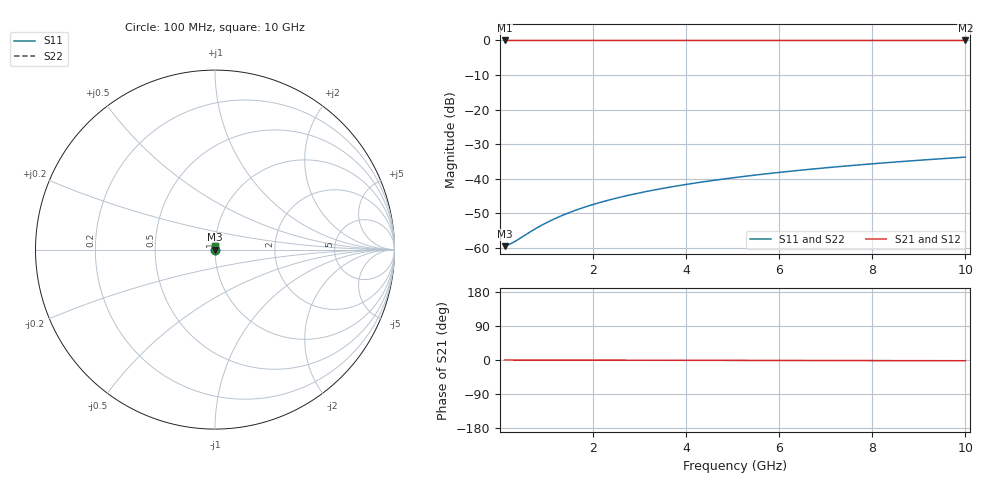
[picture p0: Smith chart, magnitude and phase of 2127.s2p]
# Hz S RI R 50.00
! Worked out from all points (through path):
!   100 points, 100 MHz to 10 GHz, reference 50 ohm
!   highest |S21| = -0.01 dB at 100 MHz (marker M1); lowest = 0.0 dB at 10 GHz (marker M2)
!   lowest |S11| = -59.5 dB at 100 MHz (marker M3), VSWR 1.00, Z = 50.1 + j0.0205 ohm
!   |S11| at or under -10 dB: start of sweep to end of sweep
!   |S22| runs from -59.5 to -33.8 dB; largest |S21 - S12| = 0
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1e8  0.00104 0.000205  0.999 -0.000349  0.999 -0.000349  0.00104 0.000205
2e8  0.00105 0.000409  0.999 -0.000699  0.999 -0.000699  0.00105 0.000409
3e8  0.00105 0.000614  0.9989 -0.00105  0.9989 -0.00105  0.00105 0.000614
8e8  0.00107 0.00164  0.9989 -0.00279  0.9989 -0.00279  0.00107 0.00164
9e8  0.00108 0.00184  0.9989 -0.00314  0.9989 -0.00314  0.00108 0.00184
1.1e9  0.00108 0.00225  0.9989 -0.00384  0.9989 -0.00384  0.00108 0.00225
1.4e9  0.00109 0.00286  0.9989 -0.00489  0.9989 -0.00489  0.00109 0.00286
1.6e9  0.0011 0.00327  0.9989 -0.00559  0.9989 -0.00559  0.0011 0.00327
1.8e9  0.00111 0.00368  0.9989 -0.00629  0.9989 -0.00629  0.00111 0.00368
2.1e9  0.00112 0.00429  0.9989 -0.00734  0.9989 -0.00734  0.00112 0.00429
2.5e9  0.00114 0.00511  0.9989 -0.00873  0.9989 -0.00873  0.00114 0.00511
2.9e9  0.00116 0.00593  0.9988 -0.0101  0.9988 -0.0101  0.00116 0.00593
3.4e9  0.00119 0.00695  0.9988 -0.0119  0.9988 -0.0119  0.00119 0.00695
3.8e9  0.00121 0.00777  0.9988 -0.0133  0.9988 -0.0133  0.00121 0.00777
4.2e9  0.00124 0.00859  0.9987 -0.0147  0.9987 -0.0147  0.00124 0.00859
4.6e9  0.00127 0.00941  0.9987 -0.0161  0.9987 -0.0161  0.00127 0.00941
5.1e9  0.00131 0.0104  0.9987 -0.0178  0.9987 -0.0178  0.00131 0.0104
5.9e9  0.00138 0.0121  0.9986 -0.0206  0.9986 -0.0206  0.00138 0.0121
6.7e9  0.00145 0.0137  0.9985 -0.0234  0.9985 -0.0234  0.00145 0.0137
7.5e9  0.00154 0.0153  0.9984 -0.0262  0.9984 -0.0262  0.00154 0.0153
8.4e9  0.00165 0.0172  0.9983 -0.0294  0.9983 -0.0294  0.00165 0.0172
1e10  0.00188 0.0204  0.998 -0.0349  0.998 -0.0349  0.00188 0.0204
